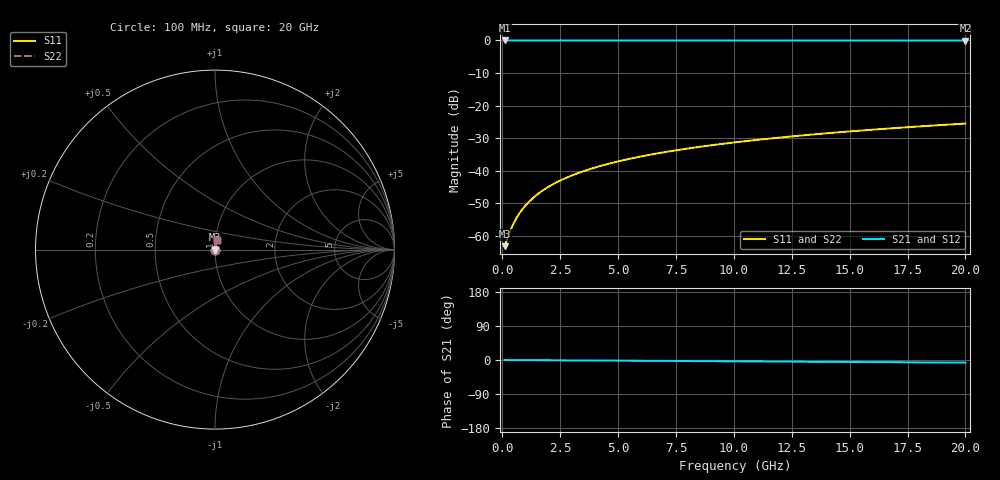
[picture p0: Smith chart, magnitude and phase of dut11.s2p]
! Touchstone file exported from HFSS 2026.1.0
!  File:  C:/ffzhzh/LocalFiles/Ansys_Project_Files/temp_train_TSV_11_1782957964_45748.aedt
!  Generated:  10:07:53 AM Jul  2, 2026
!  Design:  TSV
!  Project:  temp_train_TSV_11_1782957964_45748
! Variables:
!  h_bsmrdl = 2um
!  h_ox = 20um
!  h_rdl = 5um
!  h_sub = 62.04um
!  h_tmrdl = 5um
!  h_tsv = 62.04um
!  h_via = 3um
!  l_bsmrdl = 300um
!  l_sub = 406.9um
!  l_tmrdl = 200um
!  m_sub = 200um
!  pitch = 28.12um
!  r_tsv = 3.45um
!  s_tmrdl = 10um
!  w_bsmrdl = 18um
!  w_sub = 500um
!  w_tmrdl = 12um
!  x_tsv_center1 = 206um
!  x_tsv_center2 = 524um
!  x_tsv_center3 = 736um
!  x_tsv_center4 = 1054um
!  x_tsv_center5 = 1266um
!  x_tsv_center6 = 1584um
# GHz S MA R 50.000000
! Terminal data exported
! Port[1] = TSV1_1_T1
! Port[2] = TSV1_1_T2
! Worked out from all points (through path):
!   200 points, 100 MHz to 20 GHz, reference 50 ohm
!   highest |S21| = -0.01 dB at 100 MHz (marker M1); lowest = 0.0 dB at 20 GHz (marker M2)
!   lowest |S11| = -63.2 dB at 100 MHz (marker M3), VSWR 1.00, Z = 50.1 + j0.0297 ohm
!   |S11| at or under -10 dB: start of sweep to end of sweep
!   |S22| runs from -63.2 to -25.5 dB; largest |S21 - S12| = 4.5e-15
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0.1  0.0006951 25.2  0.9994 -0.0  0.9994 -0.0  0.0006951 25.2
! Gamma 0 0 0 0
! Port Impedance 50 0 50 0
0.3  0.00109 53.3  0.9994 -0.1  0.9994 -0.1  0.00109 53.3
0.4  0.001332 60.2  0.9993 -0.1  0.9993 -0.1  0.001332 60.2
0.5  0.001585 64.9  0.9993 -0.2  0.9993 -0.2  0.001585 64.9
0.6  0.001846 68.3  0.9993 -0.2  0.9993 -0.2  0.001846 68.3
0.7  0.002111 70.9  0.9993 -0.3  0.9993 -0.3  0.002111 70.9
0.9  0.002649 74.5  0.9993 -0.3  0.9993 -0.3  0.002649 74.5
1.2  0.003469 77.8  0.9993 -0.4  0.9993 -0.4  0.003469 77.8
1.4  0.004021 79.2  0.9993 -0.5  0.9993 -0.5  0.004021 79.2
1.7  0.004851 80.6  0.9992 -0.6  0.9992 -0.6  0.004851 80.6
2.2  0.006237 82.0  0.9992 -0.8  0.9992 -0.8  0.006237 82.0
2.8  0.007897 82.9  0.9991 -1.0  0.9991 -1.0  0.007897 82.9
3.5  0.009824 83.4  0.999 -1.2  0.999 -1.2  0.009824 83.4
4.2  0.01174 83.6  0.9989 -1.5  0.9989 -1.5  0.01174 83.6
5  0.01391 83.7  0.9988 -1.8  0.9988 -1.8  0.01391 83.7
5.9  0.01633 83.7  0.9987 -2.1  0.9987 -2.1  0.01633 83.7
6.8  0.01873 83.6  0.9985 -2.4  0.9985 -2.4  0.01873 83.6
8.3  0.02269 83.3  0.9982 -2.9  0.9982 -2.9  0.02269 83.3
10.1  0.02741 83.0  0.9979 -3.5  0.9979 -3.5  0.02741 83.0
13.4  0.03599 82.2  0.9974 -4.7  0.9974 -4.7  0.03599 82.2
16.7  0.04451 81.4  0.9968 -5.8  0.9968 -5.8  0.04451 81.4
20  0.05299 80.5  0.9962 -6.9  0.9962 -6.9  0.05299 80.5
